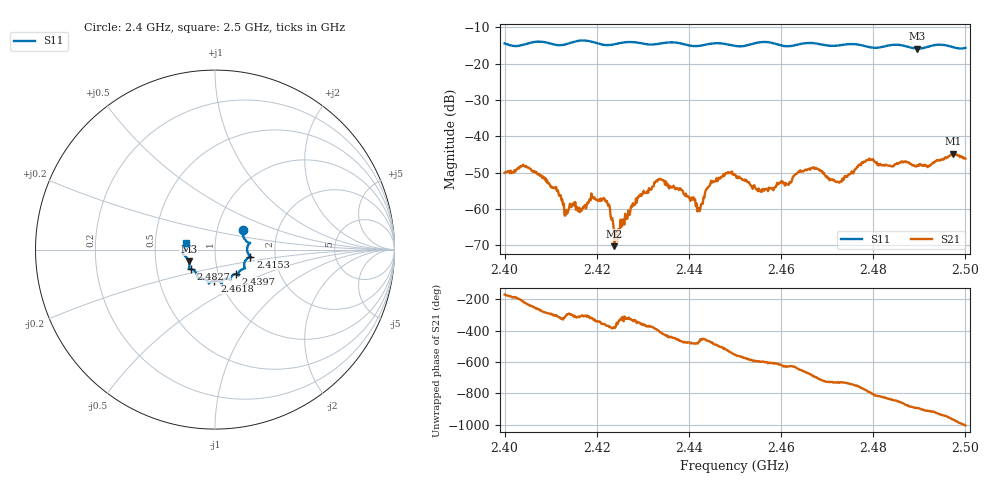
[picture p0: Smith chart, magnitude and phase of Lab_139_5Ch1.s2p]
# Hz S RI R 50
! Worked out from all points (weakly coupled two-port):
!   601 points, 2.4 GHz to 2.5 GHz, reference 50 ohm
!   highest |S21| = -44.82 dB at 2.4973 GHz (marker M1); lowest = -70.3 dB at 2.4238 GHz (marker M2)
!   lowest |S11| = -15.9 dB at 2.4895 GHz (marker M3), VSWR 1.38, Z = 37 - j5 ohm
!   |S11| at or under -10 dB: start of sweep to end of sweep
!   S12 and S22 are empty: the file has one direction only
!   S11 on the Smith chart (normalised r, x): 2.4 GHz: 1.33, +0.30; 2.4153 GHz: 1.48, -0.12; 2.4397 GHz: 1.21, -0.34; 2.4618 GHz: 0.94, -0.33; 2.4827 GHz: 0.75, -0.17; 2.5 GHz: 0.72, +0.06
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2.4e9  0.1555 0.107  -0.00309 -0.000566  0 0  0 0
2.404833e9  0.1826 0.0408  -0.00242 0.00284  0 0  0 0
2.4135e9  0.184 -0.0216  0.000374 0.000776  0 0  0 0
2.415333e9  0.1969 -0.0395  0.000784 0.000964  0 0  0 0
2.416667e9  0.2027 -0.0437  0.00054 0.000771  0 0  0 0
2.421667e9  0.1694 -0.0608  0.00138 4.86e-05  0 0  0 0
2.423833e9  0.1624 -0.0862  0.000284 -0.000117  0 0  0 0
2.433333e9  0.1297 -0.1337  0.00194 -0.00165  0 0  0 0
2.439667e9  0.1169 -0.1358  -0.000616 -0.00136  0 0  0 0
2.442333e9  0.0928 -0.1486  -0.000309 -0.000874  0 0  0 0
2.444833e9  0.0841 -0.1677  -0.00102 -0.00222  0 0  0 0
2.45e9  0.0655 -0.162  -0.00288 0.00073  0 0  0 0
2.455333e9  0.037 -0.1922  -0.00097 0.0015  0 0  0 0
2.461833e9  -0.00334 -0.173  -0.000105 0.00234  0 0  0 0
2.466667e9  -0.0349 -0.1882  0.00301 0.00208  0 0  0 0
2.472333e9  -0.0742 -0.1604  0.00232 -0.000406  0 0  0 0
2.478667e9  -0.1016 -0.1373  0.00193 -0.00429  0 0  0 0
2.482667e9  -0.135 -0.1085  -0.00136 -0.00382  0 0  0 0
2.483333e9  -0.1401 -0.108  -0.00165 -0.00356  0 0  0 0
2.4895e9  -0.1458 -0.0659  -0.00397 -0.000371  0 0  0 0
2.497333e9  -0.1675 -0.00359  -0.00209 0.00535  0 0  0 0
2.5e9  -0.1591 0.0383  0.00135 0.00473  0 0  0 0
